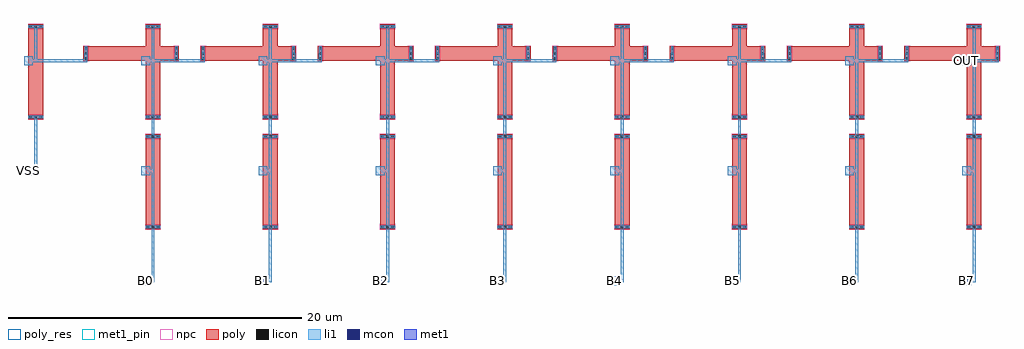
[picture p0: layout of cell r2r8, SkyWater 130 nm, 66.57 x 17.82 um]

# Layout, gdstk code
import gdstk
lib = gdstk.Library(unit=1e-6, precision=1e-09)
def R(c, l, rs):  # rectangles x0, y0, x1, y1
    for r in rs: c.add(gdstk.rectangle(r[:2], r[2:], *l))
def A(c, l, x, y, w, h, nx, ny, dx, dy):  # array of equal rectangles
    R(c, l, [(x+i*dx, y+j*dy, x+i*dx+w, y+j*dy+h) for i in range(nx) for j in range(ny)])
poly_res = (66, 13)
poly = (66, 20)
licon = (66, 44)
li1 = (67, 20)
mcon = (67, 44)
met1_pin = (68, 16)
met1 = (68, 20)
npc = (95, 20)

r2r8 = lib.new_cell('r2r8')
A(r2r8, poly_res, 11, 10.75, 1, 6, 8, 1, 8, 0)
A(r2r8, poly_res, 3, 18.25, 1, 6, 9, 1, 8, 0)
A(r2r8, poly_res, 7, 22, 6, 1, 8, 1, 8, 0)
A(r2r8, poly, 11, 10.5, 1, 6.5, 8, 1, 8, 0)
A(r2r8, poly, 3, 18, 1, 6.5, 9, 1, 8, 0)
A(r2r8, poly, 6.75, 22, 6.5, 1, 8, 1, 8, 0)
A(r2r8, licon, 11.075, 10.58, 0.17, 0.17, 3, 2, 0.34, 6.17)
A(r2r8, licon, 19.075, 10.58, 0.17, 0.17, 3, 2, 0.34, 6.17)
A(r2r8, licon, 27.075, 10.58, 0.17, 0.17, 3, 2, 0.34, 6.17)
A(r2r8, licon, 35.075, 10.58, 0.17, 0.17, 3, 2, 0.34, 6.17)
A(r2r8, licon, 43.075, 10.58, 0.17, 0.17, 3, 2, 0.34, 6.17)
A(r2r8, licon, 51.075, 10.58, 0.17, 0.17, 3, 2, 0.34, 6.17)
A(r2r8, licon, 59.075, 10.58, 0.17, 0.17, 3, 2, 0.34, 6.17)
A(r2r8, licon, 67.075, 10.58, 0.17, 0.17, 3, 2, 0.34, 6.17)
A(r2r8, licon, 3.075, 18.08, 0.17, 0.17, 3, 2, 0.34, 6.17)
A(r2r8, licon, 11.075, 18.08, 0.17, 0.17, 3, 2, 0.34, 6.17)
A(r2r8, licon, 19.075, 18.08, 0.17, 0.17, 3, 2, 0.34, 6.17)
A(r2r8, licon, 27.075, 18.08, 0.17, 0.17, 3, 2, 0.34, 6.17)
A(r2r8, licon, 35.075, 18.08, 0.17, 0.17, 3, 2, 0.34, 6.17)
A(r2r8, licon, 43.075, 18.08, 0.17, 0.17, 3, 2, 0.34, 6.17)
A(r2r8, licon, 51.075, 18.08, 0.17, 0.17, 3, 2, 0.34, 6.17)
A(r2r8, licon, 59.075, 18.08, 0.17, 0.17, 3, 2, 0.34, 6.17)
A(r2r8, licon, 67.075, 18.08, 0.17, 0.17, 3, 2, 0.34, 6.17)
A(r2r8, licon, 6.83, 22.075, 0.17, 0.17, 1, 3, 0, 0.34)
A(r2r8, licon, 13, 22.075, 0.17, 0.17, 1, 3, 0, 0.34)
A(r2r8, licon, 14.83, 22.075, 0.17, 0.17, 1, 3, 0, 0.34)
A(r2r8, licon, 21, 22.075, 0.17, 0.17, 1, 3, 0, 0.34)
A(r2r8, licon, 22.83, 22.075, 0.17, 0.17, 1, 3, 0, 0.34)
A(r2r8, licon, 29, 22.075, 0.17, 0.17, 1, 3, 0, 0.34)
A(r2r8, licon, 30.83, 22.075, 0.17, 0.17, 1, 3, 0, 0.34)
A(r2r8, licon, 37, 22.075, 0.17, 0.17, 1, 3, 0, 0.34)
A(r2r8, licon, 38.83, 22.075, 0.17, 0.17, 1, 3, 0, 0.34)
A(r2r8, licon, 45, 22.075, 0.17, 0.17, 1, 3, 0, 0.34)
A(r2r8, licon, 46.83, 22.075, 0.17, 0.17, 1, 3, 0, 0.34)
A(r2r8, licon, 53, 22.075, 0.17, 0.17, 1, 3, 0, 0.34)
A(r2r8, licon, 54.83, 22.075, 0.17, 0.17, 1, 3, 0, 0.34)
A(r2r8, licon, 61, 22.075, 0.17, 0.17, 1, 3, 0, 0.34)
A(r2r8, licon, 62.83, 22.075, 0.17, 0.17, 1, 3, 0, 0.34)
A(r2r8, licon, 69, 22.075, 0.17, 0.17, 1, 3, 0, 0.34)
A(r2r8, li1, 10.7, 6.7, 0.6, 0.6, 8, 1, 8, 0)
A(r2r8, li1, 10.915, 6.835, 0.17, 0.33, 8, 1, 8, 0)
A(r2r8, li1, 11, 6.9, 0.6, 0.2, 8, 1, 8, 0)
A(r2r8, li1, 11.4, 6.9, 0.2, 9.935, 8, 2, 8, 7.5)
A(r2r8, li1, 10.995, 10.58, 1.01, 0.17, 8, 2, 8, 6.17)
A(r2r8, li1, 11.4, 10.665, 0.2, 3.935, 8, 2, 8, 7.5)
A(r2r8, li1, 2.7, 14.2, 0.6, 0.6, 9, 2, 8, 7.5)
A(r2r8, li1, 2.995, 18.08, 1.01, 0.17, 9, 2, 8, 6.17)
A(r2r8, li1, 3, 21.9, 4.015, 0.2, 8, 1, 8, 0)
A(r2r8, li1, 3, 21.9, 0.6, 0.2, 9, 1, 8, 0)
A(r2r8, li1, 11, 21.9, 2.185, 0.2, 8, 1, 8, 0)
R(r2r8, li1, [(2.915,14.335,3.085,14.665), (3,14.4,3.6,14.6), (3.4,14.4,3.6,18.165), (11,14.4,11.6,14.6), (11,14.4,11.6,14.6), (19,14.4,19.6,14.6), (19,14.4,19.6,14.6), (27,14.4,27.6,14.6), (27,14.4,27.6,14.6), (35,14.4,35.6,14.6), (35,14.4,35.6,14.6), (43,14.4,43.6,14.6), (43,14.4,43.6,14.6), (51,14.4,51.6,14.6), (51,14.4,51.6,14.6), (59,14.4,59.6,14.6), (59,14.4,59.6,14.6), (67,14.4,67.6,14.6), (67,14.4,67.6,14.6), (66.915,21.835,67.085,22.165), (3.4,21.9,3.6,24.335), (6.815,21.9,7.015,22.5), (12.985,21.9,13.185,22.5), (14.815,21.9,15.015,22.5), (20.985,21.9,21.185,22.5), (22.815,21.9,23.015,22.5), (28.985,21.9,29.185,22.5), (30.815,21.9,31.015,22.5), (36.985,21.9,37.185,22.5), (38.815,21.9,39.015,22.5), (44.985,21.9,45.185,22.5), (46.815,21.9,47.015,22.5), (52.985,21.9,53.185,22.5), (54.815,21.9,55.015,22.5), (60.985,21.9,61.185,22.5), (62.815,21.9,63.015,22.5), (68.985,21.9,69.185,22.5), (6.83,21.995,7,23.005), (13,21.995,13.17,23.005), (14.83,21.995,15,23.005), (21,21.995,21.17,23.005), (22.83,21.995,23,23.005), (29,21.995,29.17,23.005), (30.83,21.995,31,23.005), (37,21.995,37.17,23.005), (38.83,21.995,39,23.005), (45,21.995,45.17,23.005), (46.83,21.995,47,23.005), (53,21.995,53.17,23.005), (54.83,21.995,55,23.005), (61,21.995,61.17,23.005), (62.83,21.995,63,23.005), (69,21.995,69.17,23.005)])
A(r2r8, mcon, 10.915, 6.915, 0.17, 0.17, 8, 1, 8, 0)
R(r2r8, mcon, [(2.915,14.415,3.085,14.585), (66.915,21.915,67.085,22.085)])
A(r2r8, met1_pin, 10.815, 6.885, 0.37, 0.23, 8, 1, 8, 0)
R(r2r8, met1_pin, [(2.815,14.385,3.185,14.615), (66.815,21.885,67.185,22.115)])
R(r2r8, met1, [(10.815,6.885,11.185,7.115), (10.815,6.885,11.185,7.115), (18.815,6.885,19.185,7.115), (18.815,6.885,19.185,7.115), (26.815,6.885,27.185,7.115), (26.815,6.885,27.185,7.115), (34.815,6.885,35.185,7.115), (34.815,6.885,35.185,7.115), (42.815,6.885,43.185,7.115), (42.815,6.885,43.185,7.115), (50.815,6.885,51.185,7.115), (50.815,6.885,51.185,7.115), (58.815,6.885,59.185,7.115), (58.815,6.885,59.185,7.115), (66.815,6.885,67.185,7.115), (66.815,6.885,67.185,7.115), (2.815,14.385,3.185,14.615), (2.815,14.385,3.185,14.615), (66.815,21.885,67.185,22.115), (66.815,21.885,67.185,22.115)])
A(r2r8, npc, 10.975, 10.48, 1.05, 0.37, 8, 2, 8, 6.17)
A(r2r8, npc, 2.975, 17.98, 1.05, 0.37, 9, 2, 8, 6.17)
R(r2r8, npc, [(6.73,21.975,7.1,23.025), (12.9,21.975,13.27,23.025), (14.73,21.975,15.1,23.025), (20.9,21.975,21.27,23.025), (22.73,21.975,23.1,23.025), (28.9,21.975,29.27,23.025), (30.73,21.975,31.1,23.025), (36.9,21.975,37.27,23.025), (38.73,21.975,39.1,23.025), (44.9,21.975,45.27,23.025), (46.73,21.975,47.1,23.025), (52.9,21.975,53.27,23.025), (54.73,21.975,55.1,23.025), (60.9,21.975,61.27,23.025), (62.73,21.975,63.1,23.025), (68.9,21.975,69.27,23.025)])
r2r8.add(gdstk.Label('B0', (11,7), layer=68, texttype=16))
r2r8.add(gdstk.Label('B1', (19,7), layer=68, texttype=16))
r2r8.add(gdstk.Label('B2', (27,7), layer=68, texttype=16))
r2r8.add(gdstk.Label('B3', (35,7), layer=68, texttype=16))
r2r8.add(gdstk.Label('B4', (43,7), layer=68, texttype=16))
r2r8.add(gdstk.Label('B5', (51,7), layer=68, texttype=16))
r2r8.add(gdstk.Label('B6', (59,7), layer=68, texttype=16))
r2r8.add(gdstk.Label('B7', (67,7), layer=68, texttype=16))
r2r8.add(gdstk.Label('OUT', (67,22), layer=68, texttype=16))
r2r8.add(gdstk.Label('VSS', (3,14.5), layer=68, texttype=16))
r2r8.add(gdstk.Label('B0', (11,7), layer=68, texttype=5))
r2r8.add(gdstk.Label('B1', (19,7), layer=68, texttype=5))
r2r8.add(gdstk.Label('B2', (27,7), layer=68, texttype=5))
r2r8.add(gdstk.Label('B3', (35,7), layer=68, texttype=5))
r2r8.add(gdstk.Label('B4', (43,7), layer=68, texttype=5))
r2r8.add(gdstk.Label('B5', (51,7), layer=68, texttype=5))
r2r8.add(gdstk.Label('B6', (59,7), layer=68, texttype=5))
r2r8.add(gdstk.Label('B7', (67,7), layer=68, texttype=5))
r2r8.add(gdstk.Label('OUT', (67,22), layer=68, texttype=5))
r2r8.add(gdstk.Label('VSS', (3,14.5), layer=68, texttype=5))

lib.write_gds('r2r8.gds')
